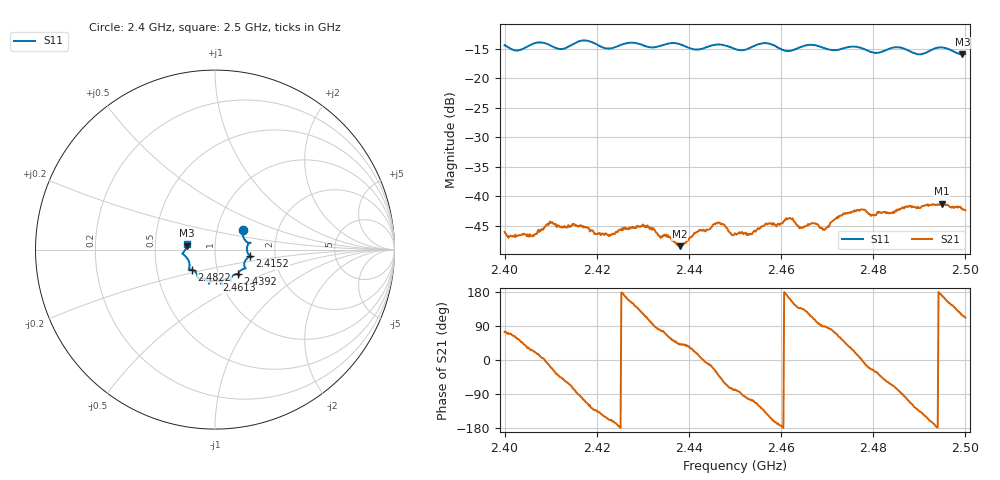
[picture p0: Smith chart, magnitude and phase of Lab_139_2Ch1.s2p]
# Hz S RI R 50
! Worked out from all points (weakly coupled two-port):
!   601 points, 2.4 GHz to 2.5 GHz, reference 50 ohm
!   highest |S21| = -41.21 dB at 2.4948 GHz (marker M1); lowest = -48.4 dB at 2.438 GHz (marker M2)
!   lowest |S11| = -15.9 dB at 2.4993 GHz (marker M3), VSWR 1.38, Z = 36.3 + j1.61 ohm
!   |S11| at or under -10 dB: start of sweep to end of sweep
!   S12 and S22 are empty: the file has one direction only
!   S11 on the Smith chart (normalised r, x): 2.4 GHz: 1.33, +0.31; 2.4152 GHz: 1.48, -0.11; 2.4392 GHz: 1.24, -0.35; 2.4613 GHz: 0.96, -0.34; 2.4822 GHz: 0.76, -0.17; 2.5 GHz: 0.73, +0.05
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2.4e9  0.156 0.111  0.00136 0.00481  0 0  0 0
2.415167e9  0.195 -0.0364  0.00107 -0.00564  0 0  0 0
2.416667e9  0.2047 -0.0424  -0.000829 -0.00554  0 0  0 0
2.422833e9  0.1644 -0.0712  -0.00434 -0.00174  0 0  0 0
2.4305e9  0.1525 -0.1101  -0.00244 0.00491  0 0  0 0
2.433333e9  0.1321 -0.1319  0.000748 0.00462  0 0  0 0
2.438e9  0.1337 -0.1424  0.00278 0.00257  0 0  0 0
2.439167e9  0.1271 -0.1378  0.00307 0.0026  0 0  0 0
2.446167e9  0.0858 -0.174  0.00478 -0.00344  0 0  0 0
2.45e9  0.0689 -0.164  0.00103 -0.00476  0 0  0 0
2.456667e9  0.0389 -0.1953  -0.00448 -0.00382  0 0  0 0
2.461333e9  0.00703 -0.1707  -0.0063 0.00109  0 0  0 0
2.464167e9  -0.0285 -0.1817  -0.00404 0.00371  0 0  0 0
2.466667e9  -0.0335 -0.1897  -0.00242 0.00543  0 0  0 0
2.4695e9  -0.0394 -0.1759  0.0001 0.00521  0 0  0 0
2.473833e9  -0.0851 -0.1603  0.00485 0.00516  0 0  0 0
2.482167e9  -0.1279 -0.1117  0.00478 -0.00557  0 0  0 0
2.483333e9  -0.1393 -0.1102  0.00365 -0.00618  0 0  0 0
2.49e9  -0.1466 -0.0639  -0.00571 -0.00563  0 0  0 0
2.494833e9  -0.1819 -0.0213  -0.0086 0.00132  0 0  0 0
2.499333e9  -0.1584 0.0216  -0.0037 0.00695  0 0  0 0
2.5e9  -0.158 0.0338  -0.00286 0.00708  0 0  0 0
